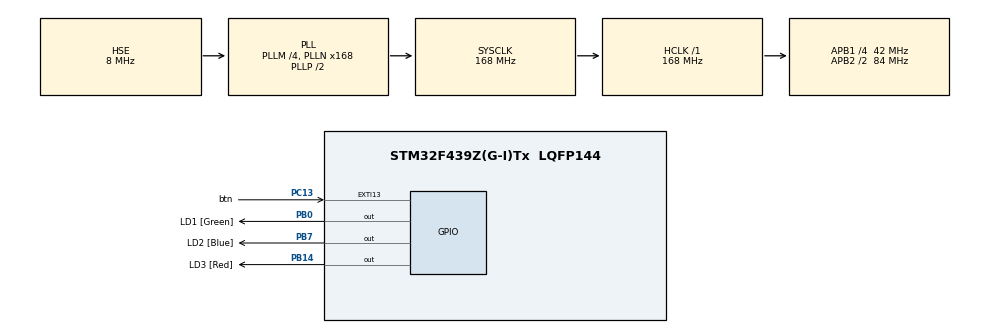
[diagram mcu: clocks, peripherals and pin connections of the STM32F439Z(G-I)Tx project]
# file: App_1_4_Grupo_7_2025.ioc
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Mcu.Family=STM32F4
Mcu.Name=STM32F439Z(G-I)Tx
Mcu.Package=LQFP144
NVIC.EXTI15_10_IRQn=true\:0\:0\:false\:false\:true\:true\:true\:true
NVIC.PriorityGroup=NVIC_PRIORITYGROUP_4
PB0.GPIO_Label=LD1 [Green]
PB0.Signal=GPIO_Output
PB14.GPIO_Label=LD3 [Red]
PB14.Signal=GPIO_Output
PB7.GPIO_Label=LD2 [Blue]
PB7.Signal=GPIO_Output
PC13.GPIO_Label=btn
PC13.Signal=GPXTI13
PH0/OSC_IN.Mode=HSE-External-Oscillator
PH0/OSC_IN.Signal=RCC_OSC_IN
PH1/OSC_OUT.Mode=HSE-External-Oscillator
PH1/OSC_OUT.Signal=RCC_OSC_OUT
ProjectManager.HeapSize=0x200
ProjectManager.StackSize=0x400
ProjectManager.TargetToolchain=STM32CubeIDE
RCC.48MHZClocksFreq_Value=48000000
RCC.AHBFreq_Value=168000000
RCC.APB1CLKDivider=RCC_HCLK_DIV4
RCC.APB1Freq_Value=42000000
RCC.APB1TimFreq_Value=84000000
RCC.APB2CLKDivider=RCC_HCLK_DIV2
RCC.APB2Freq_Value=84000000
RCC.APB2TimCLKDivider=2
RCC.APB2TimFreq_Value=168000000
RCC.CortexFreq_Value=168000000
RCC.HCLKFreq_Value=168000000
RCC.HSE_VALUE=8000000
RCC.HSI_VALUE=16000000
RCC.PLLM=4
RCC.PLLMUL=RCC_PLL_MUL9
RCC.PLLN=168
RCC.PLLQ=7
RCC.PLLSourceVirtual=RCC_PLLSOURCE_HSE
RCC.PRESCALERUSB=RCC_USBCLKSOURCE_PLL_DIV1_5
RCC.SYSCLKFreq_VALUE=168000000
RCC.SYSCLKSource=RCC_SYSCLKSOURCE_PLLCLK
RCC.SYSCLKSourceVirtual=RCC_SYSCLKSOURCE_PLLCLK
RCC.USBFreq_Value=48000000
RCC.VCOOutputFreq_Value=336000000
board=NUCLEO-F439ZI

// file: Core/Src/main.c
/* USER CODE BEGIN Header */
/**
  ******************************************************************************
  * @file           : main.c
  * @brief          : Main program body
  ******************************************************************************
  *Alumnos:
  *Ballesteros, Gabriela Elizabeth
  *Tejerina, Damaris Carla Marianela
  *Mamani Flores, Carlos Alejandro
  ******************************************************************************
  */
/* USER CODE END Header */
#include "main.h"

/* USER CODE BEGIN Includes */
#include <stdbool.h>
/* USER CODE END Includes */

/* USER CODE BEGIN PV */
#define n_leds 2 //cantidad de leds - 1
#define demora 200

uint16_t Leds [10] = {LD1_Pin, LD2_Pin, LD3_Pin}; //Array de leds
uint8_t contador;
uint8_t pulso = 0;
bool estado  = 0;
/* USER CODE END PV */

void SystemClock_Config(void);
static void MX_GPIO_Init(void);

int main(void)
{

  /* MCU Configuration--------------------------------------------------------*/

  /* Reset of all peripherals, Initializes the Flash interface and the Systick. */
  HAL_Init();

  /* Configure the system clock */
  SystemClock_Config();

  /* Initialize all configured peripherals */
  MX_GPIO_Init();

  /* Infinite loop */
  while (1)
  {

    /* USER CODE BEGIN 3 */
	  switch (pulso) {
		case 0:
			HAL_GPIO_TogglePin(GPIOB, LD1_Pin | LD2_Pin | LD3_Pin);
			HAL_Delay(100);
			break;
		case 1:
			HAL_GPIO_TogglePin(GPIOB, LD1_Pin | LD2_Pin | LD3_Pin);
			HAL_Delay(250);
			break;
		case 2:
			HAL_GPIO_TogglePin(GPIOB, LD1_Pin | LD2_Pin | LD3_Pin);
			HAL_Delay(500);
			break;
		case 3:
			HAL_GPIO_TogglePin(GPIOB, LD1_Pin | LD2_Pin | LD3_Pin);
			HAL_Delay(1000);
			break;
		default:
			//pulso = 0;
			break;
	}
  }
  /* USER CODE END 3 */
}

void SystemClock_Config(void)
{
  RCC_OscInitTypeDef RCC_OscInitStruct = {0};
  RCC_ClkInitTypeDef RCC_ClkInitStruct = {0};

  /** Configure the main internal regulator output voltage
  */
  __HAL_RCC_PWR_CLK_ENABLE();
  __HAL_PWR_VOLTAGESCALING_CONFIG(PWR_REGULATOR_VOLTAGE_SCALE1);

  /** Initializes the RCC Oscillators according to the specified parameters
  * in the RCC_OscInitTypeDef structure.
  */
  RCC_OscInitStruct.OscillatorType = RCC_OSCILLATORTYPE_HSE;
  RCC_OscInitStruct.HSEState = RCC_HSE_ON;
  RCC_OscInitStruct.PLL.PLLState = RCC_PLL_ON;
  RCC_OscInitStruct.PLL.PLLSource = RCC_PLLSOURCE_HSE;
  RCC_OscInitStruct.PLL.PLLM = 4;
  RCC_OscInitStruct.PLL.PLLN = 168;
  RCC_OscInitStruct.PLL.PLLP = RCC_PLLP_DIV2;
  RCC_OscInitStruct.PLL.PLLQ = 7;
  if (HAL_RCC_OscConfig(&RCC_OscInitStruct) != HAL_OK)
  {
    Error_Handler();
  }

  /** Initializes the CPU, AHB and APB buses clocks
  */
  RCC_ClkInitStruct.ClockType = RCC_CLOCKTYPE_HCLK|RCC_CLOCKTYPE_SYSCLK
                              |RCC_CLOCKTYPE_PCLK1|RCC_CLOCKTYPE_PCLK2;
  RCC_ClkInitStruct.SYSCLKSource = RCC_SYSCLKSOURCE_PLLCLK;
  RCC_ClkInitStruct.AHBCLKDivider = RCC_SYSCLK_DIV1;
  RCC_ClkInitStruct.APB1CLKDivider = RCC_HCLK_DIV4;
  RCC_ClkInitStruct.APB2CLKDivider = RCC_HCLK_DIV2;

  if (HAL_RCC_ClockConfig(&RCC_ClkInitStruct, FLASH_LATENCY_5) != HAL_OK)
  {
    Error_Handler();
  }
}

static void MX_GPIO_Init(void)
{
  GPIO_InitTypeDef GPIO_InitStruct = {0};

  /* GPIO Ports Clock Enable */
  __HAL_RCC_GPIOC_CLK_ENABLE();
  __HAL_RCC_GPIOH_CLK_ENABLE();
  __HAL_RCC_GPIOB_CLK_ENABLE();

  /*Configure GPIO pin Output Level */
  HAL_GPIO_WritePin(GPIOB, LD1_Pin|LD3_Pin|LD2_Pin, GPIO_PIN_RESET);

  /*Configure GPIO pin : btn_Pin */
  GPIO_InitStruct.Pin = btn_Pin;
  GPIO_InitStruct.Mode = GPIO_MODE_IT_RISING;
  GPIO_InitStruct.Pull = GPIO_NOPULL;
  HAL_GPIO_Init(btn_GPIO_Port, &GPIO_InitStruct);

  /*Configure GPIO pins : LD1_Pin LD3_Pin LD2_Pin */
  GPIO_InitStruct.Pin = LD1_Pin|LD3_Pin|LD2_Pin;
  GPIO_InitStruct.Mode = GPIO_MODE_OUTPUT_PP;
  GPIO_InitStruct.Pull = GPIO_NOPULL;
  GPIO_InitStruct.Speed = GPIO_SPEED_FREQ_LOW;
  HAL_GPIO_Init(GPIOB, &GPIO_InitStruct);

  /* EXTI interrupt init*/
  HAL_NVIC_SetPriority(EXTI15_10_IRQn, 0, 0);
  HAL_NVIC_EnableIRQ(EXTI15_10_IRQn);

}

/* USER CODE BEGIN 4 */
void HAL_GPIO_EXTI_Callback(uint16_t GPIO_Pin)
{
	if(GPIO_Pin == btn_Pin){
		HAL_GPIO_WritePin(GPIOB, LD1_Pin|LD2_Pin|LD3_Pin, GPIO_PIN_RESET);
		pulso++;
			if(pulso > 3) pulso = 0;
	}
}
/* USER CODE END 4 */

void Error_Handler(void)
{
  __disable_irq();
  while (1)
  {
  }
}
